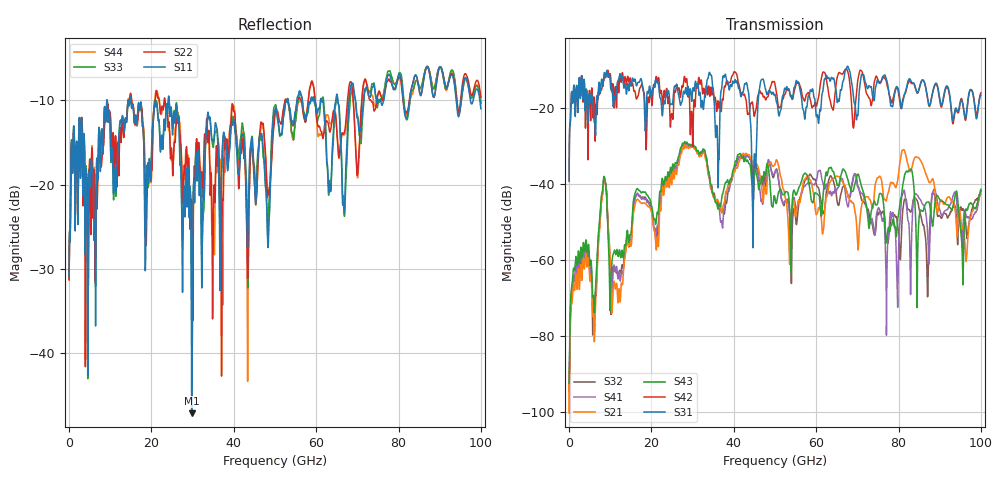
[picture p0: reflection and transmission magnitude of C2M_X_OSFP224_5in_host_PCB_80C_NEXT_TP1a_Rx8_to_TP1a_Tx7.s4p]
# GHz S RI R 45
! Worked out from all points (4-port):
!   4000 points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, 25 MHz to 100 GHz, reference 45 ohm
!   strongest paths, dB at 25 MHz, 25.02 GHz, 50.02 GHz, 75.03 GHz, 100 GHz:
!     S31: -38.9, -19.0, -16.4, -12.8, -16.6
!     S42: -39.3, -21.6, -13.7, -12.5, -15.9
!     S43: -92.5, -36.1, -43.9, -44.6, -41.3
!     S21: -89.3, -39.1, -34.8, -38.4, -42.6
!     S41: -92.6, -37.5, -36.7, -46.5, -41.6
!     S32: -91.9, -37.9, -36.9, -47.8, -41.9
!   lowest |S11| = -47.1 dB at 29.77 GHz (marker M1), VSWR 1.01, Z = 44.9 + j0.384 ohm
!   |S11| at or under -10 dB: start of sweep to 9.196 GHz; 15.06 GHz to 24.1 GHz (9.034 GHz wide, 46.1 % of centre); 24.32 GHz to 52.95 GHz (28.64 GHz wide, 74.1 % of centre) (the widest 3 of 18)
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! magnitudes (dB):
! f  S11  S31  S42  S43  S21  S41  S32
! 25 MHz  -31.0  -38.9  -39.3  -92.5  -89.3  -92.6  -91.9
! 6.125 GHz  -26.6  -23.8  -17.4  -73.3  -81.2  -78.3  -71.8
! 8.6 GHz  -10.9  -10.6  -11.9  -38.2  -38.9  -38.5  -38.6
! 12.15 GHz  -14.1  -12.0  -14.5  -57.7  -67.6  -63.1  -63.3
! 29.77 GHz  -47.1  -18.2  -21.0  -29.6  -30.2  -29.9  -30.0
! 44.88 GHz  -18.1  -34.9  -21.8  -38.5  -38.6  -41.1  -39.5
! 100 GHz  -11.0  -16.6  -15.9  -41.3  -42.6  -41.6  -41.9
